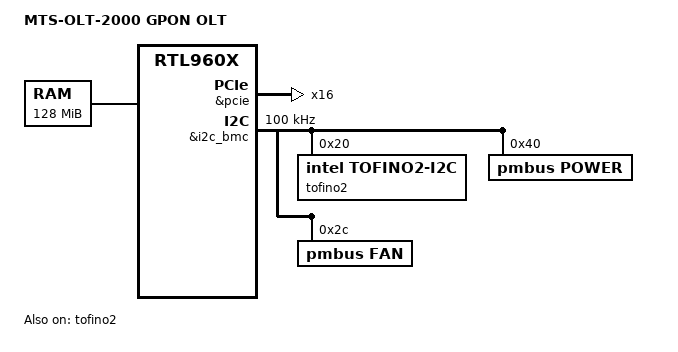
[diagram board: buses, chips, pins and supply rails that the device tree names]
/*
 * Device Tree for MTS-OLT-2000 GPON OLT
 * Intel Tofino 2 + AMD EPYC 7002 + Realtek RTL960x
 */

/dts-v1/;
/include/ "intel/tofino2.dtsi"
/include/ "amd/epyc-naples.dtsi"
/include/ "realtek/rtl960x.dtsi"

/ {
    model = "MTS-OLT-2000 GPON OLT";
    compatible = "mts,olt2000", "intel,tofino2";

    chosen {
        bootargs = "console=ttyS0,115200n8 root=/dev/nvme0n1p2 rw";
        stdout-path = "serial:0";
    };

    memory {
        reg = <0x00000000 0x00000000 0x00000000 0x08000000>; /* 128MB base */
    };

    /* PCIe for Tofino 2 */
    &pcie {
        status = "okay";
        num-lanes = <16>;
        max-speed = <4>;
    };

    /* Tofino 2 ASIC */
    tofino2: tofino@0 {
        compatible = "intel,tofino2";
        reg = <0x00000000 0x00000000 0x00001000>;
        interrupts = <0 42 4>;
        num-pipelines = <4>;
        max-ports = <128>;
        max-tables = <4096>;
        max-entries = <1048576>;
        status = "okay";
    };

    /* GPON line cards */
    gpon-cards {
        compatible = "mts,gpon-cards";
        num-cards = <4>;
        per-card-ports = <16>;

        gpon-card@0 {
            reg = <0>;
            compatible = "realtek,rtl960x";
            num-ports = <16>;
            max-onu = <128>;
            status = "okay";
        };

        gpon-card@1 {
            reg = <1>;
            compatible = "realtek,rtl960x";
            num-ports = <16>;
            max-onu = <128>;
            status = "okay";
        };

        gpon-card@2 {
            reg = <2>;
            compatible = "realtek,rtl960x";
            num-ports = <16>;
            max-onu = <128>;
            status = "okay";
        };

        gpon-card@3 {
            reg = <3>;
            compatible = "realtek,rtl960x";
            num-ports = <16>;
            max-onu = <128>;
            status = "okay";
        };
    };

    /* Uplink ports */
    &uplink {
        status = "okay";
        num-ports = <6>;
        max-speed = <100000000000>;
    };

    /* NVMe storage */
    &nvme {
        status = "okay";
        num-controllers = <2>;
    };

    /* BMC */
    &bmc {
        status = "okay";
        i2c-bus = <&i2c_bmc>;
    };

    /* I2C for management */
    &i2c_bmc {
        status = "okay";
        clock-frequency = <100000>;

        tofino2@20 {
            compatible = "intel,tofino2-i2c";
            reg = <0x20>;
        };

        power@40 {
            compatible = "pmbus,power";
            reg = <0x40>;
        };

        fan@2c {
            compatible = "pmbus,fan";
            reg = <0x2c>;
        };
    };
};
